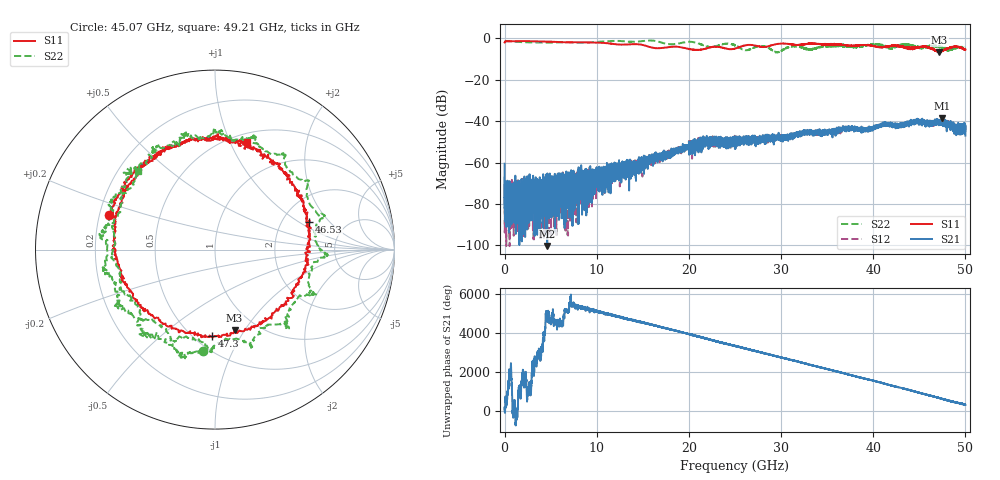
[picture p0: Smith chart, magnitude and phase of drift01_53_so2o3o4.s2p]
!Created with skrf (http://scikit-rf.org).
# Hz S RI R 50.0
!freq ReS11 ImS11 ReS21 ImS21 ReS12 ImS12 ReS22 ImS22
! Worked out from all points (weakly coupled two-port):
!   10001 points, 300 kHz to 50 GHz, reference 50 ohm
!   highest |S21| = -38.71 dB at 47.45 GHz (marker M1); lowest = -100.2 dB at 4.62 GHz (marker M2)
!   lowest |S11| = -6.7 dB at 47.19 GHz (marker M3), VSWR 2.71, Z = 39.5 - j45.1 ohm
!   |S11| at or under -10 dB: nowhere
!   |S22| runs from -6.9 to -1.0 dB; largest |S21 - S12| = 0.0037
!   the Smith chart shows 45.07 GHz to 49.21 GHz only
!   S11 on the Smith chart (normalised r, x): 45.07 GHz: 0.24, +0.15; 46.53 GHz: 2.80, +1.22; 47.3 GHz: 0.61, -0.76; 49.21 GHz: 0.59, +1.16
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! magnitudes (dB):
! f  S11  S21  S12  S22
! 300 kHz  -2.0  -60.6  -66.6  -1.3
! 255.3 MHz  -1.4  -72.0  -75.1  -1.4
! 4.62 GHz  -1.6  -100.2  -71.9  -2.1
! 7.695 GHz  -1.9  -73.2  -68.0  -2.1
! 8.335 GHz  -1.9  -67.0  -69.5  -2.1
! 16.67 GHz  -4.8  -58.0  -58.1  -1.6
! 21.47 GHz  -5.4  -49.7  -51.5  -3.2
! 25 GHz  -5.0  -49.1  -50.8  -3.4
! 26.18 GHz  -3.3  -48.0  -49.5  -5.7
! 28.12 GHz  -4.2  -49.3  -49.3  -3.9
! 29.51 GHz  -2.8  -48.8  -47.8  -6.7
! 31.29 GHz  -3.0  -46.6  -47.2  -4.0
! 33.34 GHz  -2.6  -45.3  -45.0  -5.3
! 40.14 GHz  -3.8  -42.8  -43.3  -2.9
! 41.67 GHz  -3.9  -41.9  -41.6  -4.5
! 45.07 GHz  -4.1  -40.9  -40.7  -4.9
! 46.53 GHz  -5.3  -40.8  -41.2  -4.1
! 47.19 GHz  -6.7  -40.6  -40.5  -4.6
! 47.3 GHz  -6.3  -41.1  -40.8  -3.9
! 47.45 GHz  -6.0  -38.7  -40.2  -4.1
! 49.21 GHz  -4.1  -42.8  -43.5  -4.2
! 50 GHz  -5.5  -47.0  -42.1  -4.2
